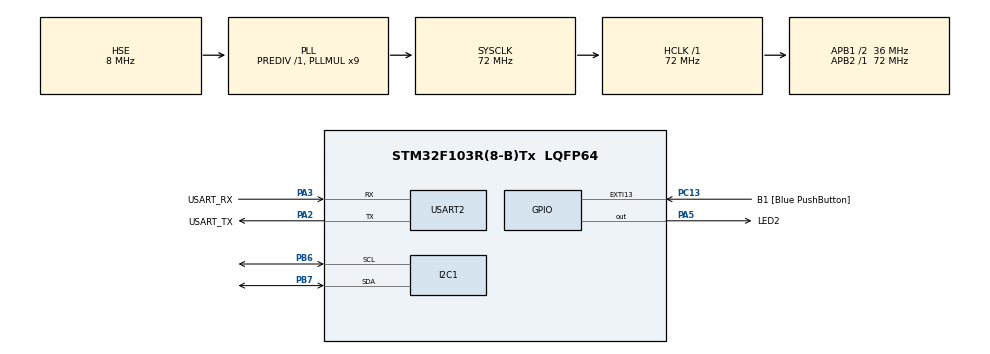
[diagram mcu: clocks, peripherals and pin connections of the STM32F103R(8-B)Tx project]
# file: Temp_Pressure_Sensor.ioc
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Mcu.Family=STM32F1
Mcu.Name=STM32F103R(8-B)Tx
Mcu.Package=LQFP64
NVIC.EXTI15_10_IRQn=true\:0\:0\:false\:false\:true\:true\:true\:true
NVIC.PriorityGroup=NVIC_PRIORITYGROUP_4
NVIC.TIM2_IRQn=true\:0\:0\:false\:false\:true\:true\:true\:true
PA13.GPIO_Label=TMS
PA13.Mode=Serial_Wire
PA13.Signal=SYS_JTMS-SWDIO
PA14.GPIO_Label=TCK
PA14.Mode=Serial_Wire
PA14.Signal=SYS_JTCK-SWCLK
PA2.GPIO_Label=USART_TX
PA2.GPIO_Mode=GPIO_MODE_AF_PP
PA2.GPIO_PuPd=GPIO_NOPULL
PA2.GPIO_Speed=GPIO_SPEED_FREQ_LOW
PA2.Mode=Asynchronous
PA2.Signal=USART2_TX
PA3.GPIO_Label=USART_RX
PA3.GPIO_Mode=GPIO_MODE_AF_PP
PA3.GPIO_PuPd=GPIO_NOPULL
PA3.GPIO_Speed=GPIO_SPEED_FREQ_LOW
PA3.Mode=Asynchronous
PA3.Signal=USART2_RX
PA5.GPIO_Label=LED2
PA5.GPIO_ModeDefaultOutputPP=GPIO_MODE_OUTPUT_PP
PA5.GPIO_PuPd=GPIO_NOPULL
PA5.GPIO_Speed=GPIO_SPEED_FREQ_LOW
PA5.Signal=GPIO_Output
PB3.GPIO_Label=SWO
PB3.Signal=SYS_JTDO-TRACESWO
PB6.Mode=I2C
PB6.Signal=I2C1_SCL
PB7.Mode=I2C
PB7.Signal=I2C1_SDA
PC13-TAMPER-RTC.GPIO_Label=B1 [Blue PushButton]
PC13-TAMPER-RTC.GPIO_PuPd=GPIO_NOPULL
PC13-TAMPER-RTC.Signal=GPXTI13
PC14-OSC32_IN.Mode=LSE-External-Oscillator
PC14-OSC32_IN.Signal=RCC_OSC32_IN
PC15-OSC32_OUT.Mode=LSE-External-Oscillator
PC15-OSC32_OUT.Signal=RCC_OSC32_OUT
PD0-OSC_IN.Mode=HSE-External-Clock-Source
PD0-OSC_IN.Signal=RCC_OSC_IN
PD1-OSC_OUT.Mode=HSE-External-Clock-Source
PD1-OSC_OUT.Signal=RCC_OSC_OUT
ProjectManager.HeapSize=0x200
ProjectManager.StackSize=0x400
ProjectManager.TargetToolchain=STM32CubeIDE
RCC.AHBFreq_Value=72000000
RCC.APB1CLKDivider=RCC_HCLK_DIV2
RCC.APB1Freq_Value=36000000
RCC.APB1TimFreq_Value=72000000
RCC.APB2Freq_Value=72000000
RCC.APB2TimFreq_Value=72000000
RCC.HCLKFreq_Value=72000000
RCC.PLLMUL=RCC_PLL_MUL9
RCC.PLLSourceVirtual=RCC_PLLSOURCE_HSE
RCC.RTCClockSelection=RCC_RTCCLKSOURCE_LSE
RCC.SYSCLKFreq_VALUE=72000000
RCC.SYSCLKSource=RCC_SYSCLKSOURCE_PLLCLK
RCC.USBFreq_Value=72000000
TIM2.Period=9999
TIM2.Prescaler=7199
USART2.VirtualMode=VM_ASYNC
VP_TIM2_VS_ClockSourceINT.Mode=Internal
board=NUCLEO-F103RB

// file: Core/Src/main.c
/* USER CODE BEGIN Header */

/**
  ******************************************************************************
  * @file           : main.c
  * @brief          : Main program body
  ******************************************************************************
  * @attention
  *
  * Copyright (c) 2026 STMicroelectronics.
  * All rights reserved.
  *
  * This software is licensed under terms that can be found in the LICENSE file
  * in the root directory of this software component.
  * If no LICENSE file comes with this software, it is provided AS-IS.
  *
  ******************************************************************************
  */
/* USER CODE END Header */
#include "main.h"
#include "i2c.h"
#include "tim.h"
#include "usart.h"
#include "gpio.h"

/* USER CODE BEGIN Includes */
#include "oled_h.h"
#include "temp_sensor.h"
#include <string.h>
#include <stdio.h>
/* USER CODE END Includes */

void SystemClock_Config(void);

/* USER CODE BEGIN PFP */
void debug_print(char *str);
/* USER CODE END PFP */

int main(void)
{

  /* MCU Configuration--------------------------------------------------------*/

  /* Reset of all peripherals, Initializes the Flash interface and the Systick. */
  HAL_Init();

  /* Configure the system clock */
  SystemClock_Config();

  /* Initialize all configured peripherals */
  MX_GPIO_Init();
  MX_I2C1_Init();
  MX_TIM2_Init();
  MX_USART2_UART_Init();
  /* USER CODE BEGIN 2 */
  HAL_TIM_Base_Start_IT(&htim2);

  oled_setup();

  HAL_Delay(2000);

  oled_erase_all();

  HAL_Delay(2000);

  oled_fill();

  HAL_StatusTypeDef status;
  status = HAL_I2C_IsDeviceReady(&hi2c1, SENSORAddr << 1, 1, HAL_MAX_DELAY);

  HAL_Delay(2000);

  if (status == HAL_OK){
	  debug_print("sensor is ready!\r\n");
  }

  HAL_Delay(1000);

  /* USER CODE END 2 */

  /* Infinite loop */
  while (1)
  {
	  oled_erase_all();

	  int32_t num;

	  getTemp(&num);

	  uint8_t str[40];

	  snprintf(str, sizeof(str), "%ld\r\n", (long)num);

	  HAL_UART_Transmit(&huart2, str, strlen(str), 100);

	  uint8_t numbers[3];

	  numbers[0] = (num / 100) % 10;
	  numbers[1] = (num / 10) % 10;
	  numbers[2] = num % 10;

	  oled_display_char(numbers);

	  HAL_Delay(2000);

  }
}

void SystemClock_Config(void)
{
  RCC_OscInitTypeDef RCC_OscInitStruct = {0};
  RCC_ClkInitTypeDef RCC_ClkInitStruct = {0};

  /** Initializes the RCC Oscillators according to the specified parameters
  * in the RCC_OscInitTypeDef structure.
  */
  RCC_OscInitStruct.OscillatorType = RCC_OSCILLATORTYPE_HSE;
  RCC_OscInitStruct.HSEState = RCC_HSE_BYPASS;
  RCC_OscInitStruct.HSEPredivValue = RCC_HSE_PREDIV_DIV1;
  RCC_OscInitStruct.HSIState = RCC_HSI_ON;
  RCC_OscInitStruct.PLL.PLLState = RCC_PLL_ON;
  RCC_OscInitStruct.PLL.PLLSource = RCC_PLLSOURCE_HSE;
  RCC_OscInitStruct.PLL.PLLMUL = RCC_PLL_MUL9;
  if (HAL_RCC_OscConfig(&RCC_OscInitStruct) != HAL_OK)
  {
    Error_Handler();
  }

  /** Initializes the CPU, AHB and APB buses clocks
  */
  RCC_ClkInitStruct.ClockType = RCC_CLOCKTYPE_HCLK|RCC_CLOCKTYPE_SYSCLK
                              |RCC_CLOCKTYPE_PCLK1|RCC_CLOCKTYPE_PCLK2;
  RCC_ClkInitStruct.SYSCLKSource = RCC_SYSCLKSOURCE_PLLCLK;
  RCC_ClkInitStruct.AHBCLKDivider = RCC_SYSCLK_DIV1;
  RCC_ClkInitStruct.APB1CLKDivider = RCC_HCLK_DIV2;
  RCC_ClkInitStruct.APB2CLKDivider = RCC_HCLK_DIV1;

  if (HAL_RCC_ClockConfig(&RCC_ClkInitStruct, FLASH_LATENCY_2) != HAL_OK)
  {
    Error_Handler();
  }
}

/* USER CODE BEGIN 4 */
void HAL_TIM_PeriodElapsedCallback(TIM_HandleTypeDef *htim){
	if (htim -> Instance == TIM2) {
		HAL_GPIO_TogglePin(LED2_GPIO_Port, LED2_Pin);
	}
}

void debug_print(char *str){
	HAL_UART_Transmit(&huart2, (uint8_t *)str, strlen(str), HAL_MAX_DELAY);
}
/* USER CODE END 4 */

void Error_Handler(void)
{
  __disable_irq();
  while (1)
  {
  }
}
